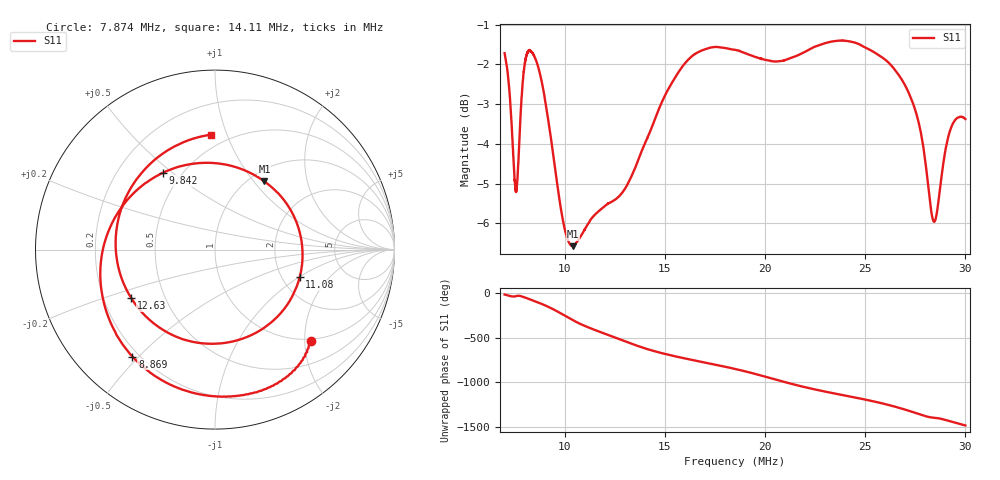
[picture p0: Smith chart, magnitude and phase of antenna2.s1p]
# HZ S RI R 50
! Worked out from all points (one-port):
!   3097 points, 7.005 MHz to 30 MHz, reference 50 ohm
!   lowest |S11| = -6.6 dB at 10.4 MHz (marker M1), VSWR 2.77, Z = 58.3 + j56.7 ohm
!   |S11| at or under -10 dB: nowhere
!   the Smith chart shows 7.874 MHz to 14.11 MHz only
!   S11 on the Smith chart (normalised r, x): 7.874 MHz: 0.96, -2.13; 8.869 MHz: 0.17, -0.48; 9.842 MHz: 0.40, +0.46; 11.08 MHz: 2.49, -1.02; 12.63 MHz: 0.32, -0.24; 14.11 MHz: 0.40, +0.88
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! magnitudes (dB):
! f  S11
! 7.005 MHz  -1.7
! 7.213 MHz  -2.5
! 7.48 MHz  -4.7
! 7.562 MHz  -5.2
! 7.666 MHz  -4.7
! 7.874 MHz  -2.7
! 8.037 MHz  -1.9
! 8.23 MHz  -1.7
! 8.869 MHz  -2.5
! 9.842 MHz  -5.7
! 9.879 MHz  -5.8
! 10.4 MHz  -6.6
! 11.08 MHz  -6.1
! 12.63 MHz  -5.4
! 12.75 MHz  -5.3
! 14.11 MHz  -3.9
! 15.63 MHz  -2.2
! 16.8 MHz  -1.7
! 18.5 MHz  -1.6
! 21.38 MHz  -1.8
! 24.25 MHz  -1.4
! 26.06 MHz  -1.9
! 27.13 MHz  -2.7
! 27.75 MHz  -3.7
! 28.29 MHz  -5.7
! 28.43 MHz  -6.0
! 29.22 MHz  -3.7
! 30 MHz  -3.4
